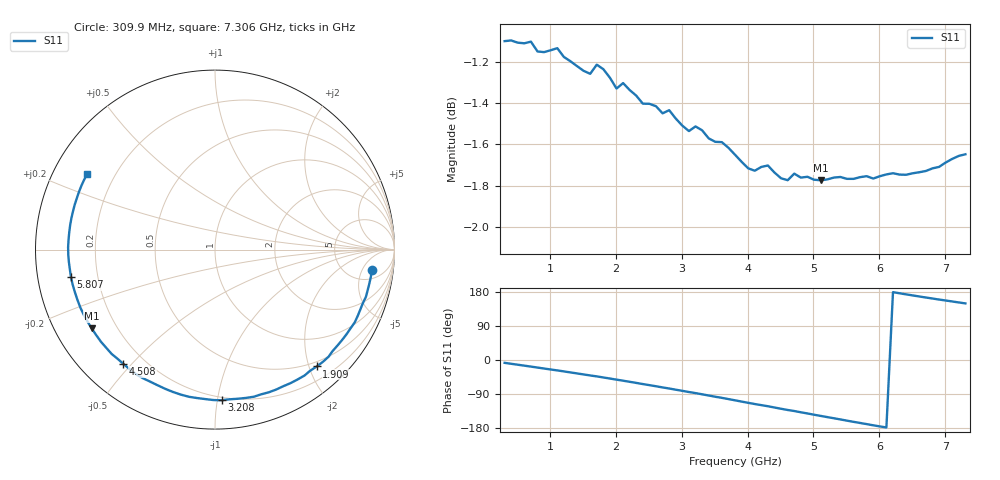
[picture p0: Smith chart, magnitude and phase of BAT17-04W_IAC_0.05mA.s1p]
! Infineon Technologies  Discrete & RF Semiconductors
! BAT17-04W
! IAC = 0.05 mA
! One-Port S-Parameters
# Hz  S  MA  R  50
!f  S11
!Hz  Mag  Ang
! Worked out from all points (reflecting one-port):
!   71 points, 309.9 MHz to 7.306 GHz, reference 50 ohm
!   lowest |S11| = -1.8 dB at 5.107 GHz (marker M1), VSWR 9.83, Z = 5.52 - j14.4 ohm
!   phase of S11 starts at -7 deg and turns -203 deg over the sweep
!   S11 on the Smith chart (normalised r, x): 309.9 MHz: 8, -8; 1.909 GHz: 0.42, -2.13; 3.208 GHz: 0.18, -1.03; 4.508 GHz: 0.12, -0.47; 5.807 GHz: 0.10, -0.09; 7.306 GHz: 0.10, +0.27
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3.0985e8  0.8813 -7.5
7.0965e8  0.881 -17.4
1.10945e9  0.8778 -27.5
1.2094e9  0.8735 -30.1
1.70915e9  0.8697 -43.2
1.90905e9  0.8634 -48.9
2.10895e9  0.8608 -54.6
2.30885e9  0.8548 -60.5
2.6087e9  0.8497 -69.3
2.8086e9  0.8479 -75.2
3.0085e9  0.8406 -81.4
3.2084e9  0.8402 -87.4
3.6082e9  0.8328 -99.9
3.8081e9  0.827 -106.4
4.10795e9  0.8196 -116.2
4.30785e9  0.822 -122.0
4.50775e9  0.8162 -128.7
4.70765e9  0.8183 -134.6
5.10745e9  0.8153 -147.5
5.4073e9  0.8167 -156.8
5.6072e9  0.8159 -163.2
5.8071e9  0.8171 -169.2
6.007e9  0.8171 -175.2
6.2069e9  0.8185 179.1
6.50675e9  0.8184 170.4
6.8066e9  0.8207 162.2
7.0065e9  0.8234 157.0
7.30635e9  0.8272 149.3
